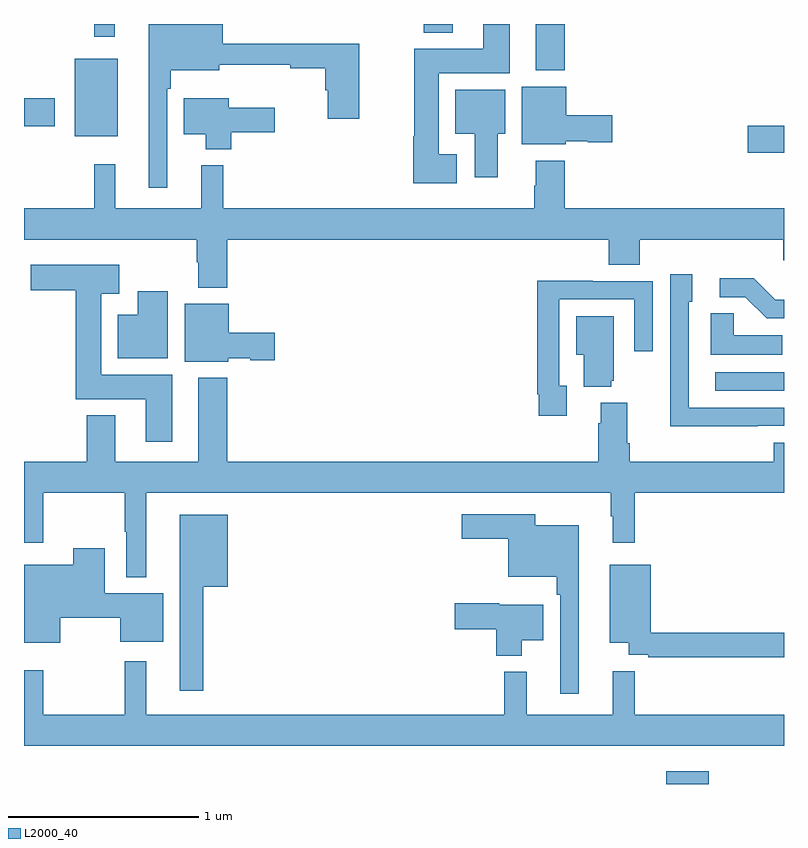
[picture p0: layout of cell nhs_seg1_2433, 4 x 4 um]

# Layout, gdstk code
import gdstk
lib = gdstk.Library(unit=1e-6, precision=1e-09)
def R(c, l, rs):  # rectangles x0, y0, x1, y1
    for r in rs: c.add(gdstk.rectangle(r[:2], r[2:], *l))
def P(c, l, *ps):  # polygons
    for p in ps: c.add(gdstk.Polygon(p, *l))
L2000_40 = (2000, 40)

nhs_seg1_2433 = lib.new_cell('nhs_seg1_2433')
R(nhs_seg1_2433, L2000_40, [(246.38,550.199,246.604,550.267), (246.639,552.27,247,552.366), (246.81,553.522,247,553.664), (243.266,553.607,243.493,554.017), (243,553.66,243.163,553.807), (245.693,553.955,245.846,554.199), (243.369,554.133,243.478,554.199), (245.105,554.153,245.257,554.199)])
P(nhs_seg1_2433, L2000_40, [(245.278,553.513),(245.182,553.513),(245.182,553.94),(245.557,553.94),(245.557,554.199),(245.417,554.199),(245.417,554.068),(245.053,554.068),(245.053,553.609),(245.048,553.609),(245.048,553.361),(245.278,553.361)],
  [(243.753,553.859),(243.773,553.859),(243.773,553.955),(244.027,553.955),(244.027,553.984),(244.402,553.984),(244.402,553.966),(244.586,553.966),(244.586,553.851),(244.598,553.851),(244.598,553.701),(244.764,553.701),(244.764,554.095),(244.046,554.095),(244.046,554.199),(243.656,554.199),(243.656,553.338),(243.753,553.338)],
  [(245.85,553.583),(245.967,553.583),(245.967,553.576),(246.097,553.576),(246.097,553.718),(245.854,553.718),(245.854,553.87),(245.621,553.87),(245.621,553.565),(245.85,553.565)],
  [(245.494,553.622),(245.533,553.622),(245.533,553.852),(245.27,553.852),(245.27,553.622),(245.372,553.622),(245.372,553.392),(245.494,553.392)],
  [(244.091,553.63),(244.321,553.63),(244.321,553.759),(244.078,553.759),(244.078,553.807),(243.842,553.807),(243.842,553.619),(243.956,553.619),(243.956,553.541),(244.091,553.541)],
  [(244.07,553.064),(246.077,553.064),(246.077,552.931),(246.242,552.931),(246.242,553.064),(246.995,553.064),(246.995,552.955),(247,552.955),(247,553.228),(245.846,553.228),(245.846,553.48),(245.693,553.48),(245.693,553.349),(245.686,553.349),(245.686,553.228),(244.049,553.228),(244.049,553.456),(243.932,553.456),(243.932,553.228),(243.479,553.228),(243.479,553.462),(243.369,553.462),(243.369,553.228),(243,553.228),(243,553.064),(243.91,553.064),(243.91,552.944),(243.917,552.944),(243.917,552.812),(244.07,552.812)],
  [(243.781,552.352),(243.406,552.352),(243.406,552.779),(243.502,552.779),(243.502,552.931),(243.036,552.931),(243.036,552.797),(243.272,552.797),(243.272,552.224),(243.641,552.224),(243.641,552),(243.781,552)],
  [(246.863,552.084),(247,552.084),(247,552.18),(246.498,552.18),(246.498,552.738),(246.517,552.738),(246.517,552.883),(246.402,552.883),(246.402,552.389),(246.4,552.389),(246.4,552.083),(246.863,552.083)],
  [(247,552.747),(246.954,552.747),(246.841,552.86),(246.663,552.86),(246.663,552.762),(246.797,552.762),(246.908,552.651),(247,552.651)],
  [(245.857,552.294),(245.817,552.294),(245.817,552.75),(246.213,552.75),(246.213,552.477),(246.309,552.477),(246.309,552.846),(245.993,552.846),(245.993,552.848),(245.701,552.848),(245.701,552.25),(245.709,552.25),(245.709,552.138),(245.857,552.138)],
  [(243.757,552.793),(243.599,552.793),(243.599,552.67),(243.494,552.67),(243.494,552.44),(243.757,552.44)],
  [(244.074,552.44),(244.191,552.44),(244.191,552.428),(244.321,552.428),(244.321,552.575),(244.078,552.575),(244.078,552.727),(243.845,552.727),(243.845,552.422),(244.074,552.422)],
  [(246.992,552.562),(246.735,552.562),(246.735,552.677),(246.614,552.677),(246.614,552.458),(246.992,552.458)],
  [(246.092,552.321),(246.103,552.321),(246.103,552.661),(245.906,552.661),(245.906,552.458),(245.945,552.458),(245.945,552.29),(246.092,552.29)],
  [(243.643,551.732),(246.087,551.732),(246.087,551.609),(246.098,551.609),(246.098,551.469),(246.215,551.469),(246.215,551.732),(247,551.732),(247,551.995),(246.947,551.995),(246.947,551.896),(246.188,551.896),(246.188,551.992),(246.175,551.992),(246.175,552.205),(246.035,552.205),(246.035,552.098),(246.023,552.098),(246.023,551.896),(244.07,551.896),(244.07,552.337),(243.917,552.337),(243.917,551.896),(243.481,551.896),(243.481,552.139),(243.329,552.139),(243.329,551.896),(243,551.896),(243,551.469),(243.1,551.469),(243.1,551.732),(243.529,551.732),(243.529,551.527),(243.539,551.527),(243.539,551.288),(243.643,551.288)],
  [(245.92,551.56),(245.692,551.56),(245.692,551.62),(245.304,551.62),(245.304,551.491),(245.549,551.491),(245.549,551.291),(245.803,551.291),(245.803,551.195),(245.823,551.195),(245.823,550.674),(245.92,550.674)],
  [(243.943,551.237),(244.072,551.237),(244.072,551.617),(243.821,551.617),(243.821,550.689),(243.943,550.689)],
  [(243.19,551.075),(243.506,551.075),(243.506,550.949),(243.733,550.949),(243.733,551.203),(243.424,551.203),(243.424,551.44),(243.259,551.44),(243.259,551.353),(243,551.353),(243,550.943),(243.19,550.943)],
  [(247,550.994),(246.298,550.994),(246.298,551.353),(246.083,551.353),(246.083,550.943),(246.182,550.943),(246.182,550.878),(246.286,550.878),(246.286,550.866),(247,550.866)],
  [(245.62,550.955),(245.734,550.955),(245.734,551.143),(245.502,551.143),(245.502,551.151),(245.268,551.151),(245.268,551.014),(245.486,551.014),(245.486,550.874),(245.62,550.874)],
  [(247,550.564),(246.215,550.564),(246.215,550.793),(246.098,550.793),(246.098,550.564),(245.645,550.564),(245.645,550.789),(245.527,550.789),(245.527,550.564),(243.643,550.564),(243.643,550.846),(243.529,550.846),(243.529,550.564),(243.1,550.564),(243.1,550.798),(243,550.798),(243,550.4),(247,550.4)])

lib.write_gds('nhs_seg1_2433.gds')
